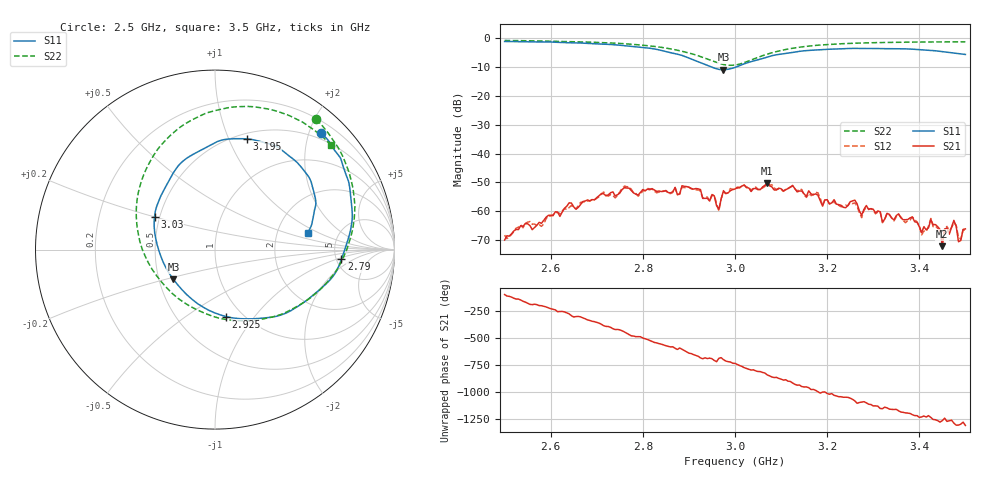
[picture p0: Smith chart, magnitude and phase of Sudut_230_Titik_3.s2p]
# Hz S RI R 50
! CMT, C1220, 16058040, 17.2.0/1
! Date: 15/08/2018 10:43:33
! Data: Format (Calibration Info)
! Freq  S11: Re/Im (F2)  S21: Re/Im (F2)  S12: Re/Im (F2)  S22: Re/Im (F2)
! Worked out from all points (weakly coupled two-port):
!   201 points, 2.5 GHz to 3.5 GHz, reference 50 ohm
!   highest |S21| = -50.17 dB at 3.07 GHz (marker M1); lowest = -72.2 dB at 3.45 GHz (marker M2)
!   lowest |S11| = -10.9 dB at 2.975 GHz (marker M3), VSWR 1.80, Z = 29.7 - j10.8 ohm
!   |S11| at or under -10 dB: 2.95 GHz to 3.002 GHz (51.65 MHz wide, 1.74 % of centre)
!   |S22| runs from -9.4 to -0.7 dB; largest |S21 - S12| = 0.0003
!   S11 on the Smith chart (normalised r, x): 2.5 GHz: 0.38, +2.20; 2.79 GHz: 5.55, -1.19; 2.925 GHz: 0.84, -0.73; 3.03 GHz: 0.47, +0.20; 3.195 GHz: 0.56, +1.17; 3.5 GHz: 2.99, +0.77
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2.5e9  0.5917 0.652  -6.37e-05 -0.000309  -4.12e-05 -0.000381  0.5638 0.7252
2.67e9  0.7505 0.3454  0.00108 0.000997  0.00114 0.000875  0.738 0.4539
2.76e9  0.7433 0.063  0.000169 -0.00255  0.000261 -0.00271  0.7782 0.2109
2.79e9  0.7044 -0.0539  -0.00122 -0.00147  -0.00126 -0.00132  0.7652 0.1057
2.835e9  0.593 -0.2142  -0.00217 0.000537  -0.0021 0.000432  0.7035 -0.0682
2.925e9  0.0604 -0.3728  0.00195 0.00136  0.0018 0.00135  0.2966 -0.3803
2.965e9  -0.1839 -0.2235  0.000929 0.000547  0.000923 0.000424  -0.0192 -0.3692
2.975e9  -0.2316 -0.1665  0.00216 0.0007  0.00201 0.000716  -0.0971 -0.3371
3e9  -0.3125 -0.00609  0.00233 -0.000667  0.00236 -0.000714  -0.2711 -0.2105
3.03e9  -0.3368 0.1842  0.000838 -0.00238  0.00092 -0.00244  -0.406 0.00465
3.07e9  -0.2455 0.4044  -0.00167 -0.00261  -0.00143 -0.00267  -0.4276 0.3161
3.17e9  0.0923 0.6171  -0.000474 0.00187  -0.000578 0.00184  -0.09 0.7417
3.195e9  0.1767 0.6169  0.000242 0.00155  0.000298 0.00155  0.00159 0.7746
3.335e9  0.4888 0.4492  0.000191 -0.00086  0.000175 -0.000843  0.3926 0.755
3.385e9  0.5417 0.3564  -0.000502 -0.000615  -0.000503 -0.000611  0.488 0.7101
3.405e9  0.5542 0.3062  -0.000365 -0.000215  -0.000345 -0.000177  0.519 0.6886
3.425e9  0.5621 0.2599  -0.000645 -0.000308  -0.000679 -0.000312  0.5491 0.6688
3.45e9  0.5519 0.2054  -0.000246 1.42e-05  -0.000293 3.12e-05  0.5853 0.6402
3.455e9  0.5491 0.1923  -0.000464 -0.00016  -0.000462 -0.000163  0.592 0.6351
3.475e9  0.5391 0.1414  -0.00062 0.000308  -0.000587 0.000237  0.6158 0.6129
3.485e9  0.531 0.1202  -0.00021 0.000208  -0.000204 0.000286  0.6278 0.6006
3.5e9  0.5165 0.0931  -0.000328 0.000367  -0.000288 0.000363  0.6449 0.5836
